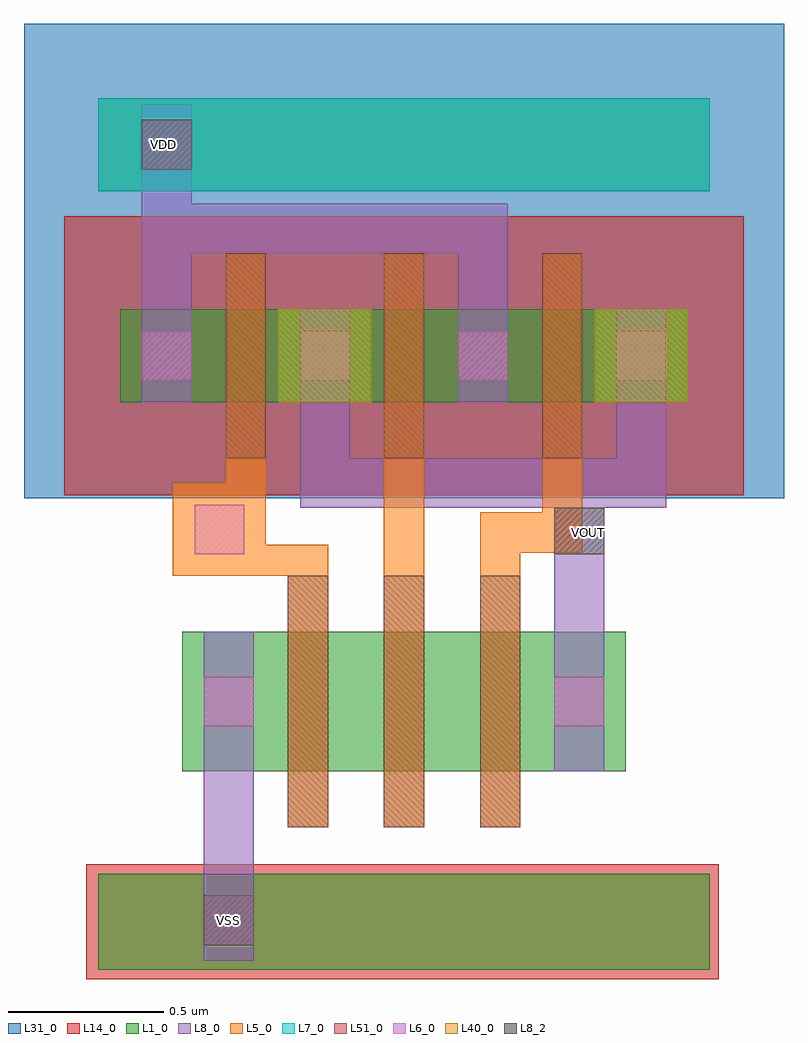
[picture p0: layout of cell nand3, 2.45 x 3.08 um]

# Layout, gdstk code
import gdstk
lib = gdstk.Library(unit=1e-6, precision=5e-09)
def R(c, l, rs):  # rectangles x0, y0, x1, y1
    for r in rs: c.add(gdstk.rectangle(r[:2], r[2:], *l))
def A(c, l, x, y, w, h, nx, ny, dx, dy):  # array of equal rectangles
    R(c, l, [(x+i*dx, y+j*dy, x+i*dx+w, y+j*dy+h) for i in range(nx) for j in range(ny)])
def P(c, l, *ps):  # polygons
    for p in ps: c.add(gdstk.Polygon(p, *l))
L1_0 = (1, 0)
L5_0 = (5, 0)
L6_0 = (6, 0)
L7_0 = (7, 0)
L8_0 = (8, 0)
L8_2 = (8, 2)
L14_0 = (14, 0)
L31_0 = (31, 0)
L40_0 = (40, 0)
L51_0 = (51, 0)

nmos_serie = lib.new_cell('nmos_serie')
R(nmos_serie, L1_0, [(0,0.18,1.43,0.63)])
A(nmos_serie, L5_0, 0.34, 0, 0.13, 0.81, 3, 1, 0.31, 0)
R(nmos_serie, L6_0, [(0.07,0.325,0.23,0.485), (1.2,0.325,1.36,0.485)])
R(nmos_serie, L8_0, [(0.07,0.18,0.23,0.63), (1.2,0.18,1.36,0.63)])
A(nmos_serie, L51_0, 0.34, 0, 0.13, 0.81, 3, 1, 0.31, 0)
nmos_serie.add(gdstk.Label('nmos', (0.71,0.41), layer=63, texttype=0))
nmos_serie.add(gdstk.Label('nmos', (1.02,0.4), layer=63, texttype=0))
nmos_serie.add(gdstk.Label('nmos', (0.405,0.405), layer=63, texttype=0))
nmos_serie.add(gdstk.Label('nmos', (0.71,0.41), layer=51, texttype=0))
nmos_serie.add(gdstk.Label('nmos', (1.02,0.4), layer=51, texttype=0))
nmos_serie.add(gdstk.Label('nmos', (0.405,0.405), layer=51, texttype=0))

pmos_parallel = lib.new_cell('pmos_parallel')
R(pmos_parallel, L1_0, [(0.31,0.31,2.14,0.61), (0.31,0.31,0.61,0.61), (1.84,0.31,2.14,0.61)])
R(pmos_parallel, L5_0, [(0.65,0.13,0.78,0.79), (0.65,0.13,0.78,0.79), (1.16,0.13,1.29,0.79), (1.16,0.13,1.29,0.79), (1.67,0.13,1.8,0.79), (1.67,0.13,1.8,0.79)])
A(pmos_parallel, L6_0, 0.38, 0.38, 0.16, 0.16, 4, 1, 0.51, 0)
R(pmos_parallel, L8_0, [(0.38,0.31,0.54,0.61), (0.38,0.31,0.54,0.61), (0.89,0.31,1.05,0.61), (0.89,0.31,1.05,0.61), (1.4,0.31,1.56,0.61), (1.4,0.31,1.56,0.61), (1.91,0.31,2.07,0.61), (1.91,0.31,2.07,0.61)])
R(pmos_parallel, L14_0, [(0.13,0.01,2.32,0.91)])
R(pmos_parallel, L31_0, [(0,0,2.45,0.92)])
R(pmos_parallel, L40_0, [(0.82,0.31,1.12,0.61), (1.84,0.31,2.14,0.61)])
A(pmos_parallel, L51_0, 0.65, 0.13, 0.13, 0.66, 3, 1, 0.51, 0)
pmos_parallel.add(gdstk.Label('pmos', (1.22,0.46), layer=63, texttype=0))
pmos_parallel.add(gdstk.Label('pmos', (1.74,0.46), layer=63, texttype=0))
pmos_parallel.add(gdstk.Label('pmos', (0.715,0.46), layer=63, texttype=0))
pmos_parallel.add(gdstk.Label('pmos', (1.22,0.46), layer=51, texttype=0))
pmos_parallel.add(gdstk.Label('pmos', (1.74,0.46), layer=51, texttype=0))
pmos_parallel.add(gdstk.Label('pmos', (0.715,0.46), layer=51, texttype=0))

nand3 = lib.new_cell('nand3')
R(nand3, L1_0, [(0.24,-1.52,2.21,-1.21), (0.24,0.99,2.21,1.29)])
R(nand3, L5_0, [(1.16,-0.25,1.29,0.13)])
P(nand3, L5_0, [(1.47,-0.25),(1.47,-0.045),(1.67,-0.045),(1.67,0.13),(1.8,0.13),(1.8,-0.175),(1.6,-0.175),(1.6,-0.25)],
  [(0.48,-0.25),(0.48,0.05),(0.65,0.05),(0.65,0.13),(0.78,0.13),(0.78,-0.15),(0.98,-0.15),(0.98,-0.25),(0.85,-0.25)])
R(nand3, L6_0, [(0.58,-1.44,0.74,-1.28), (0.55,-0.18,0.71,-0.02), (0.38,1.06,0.54,1.22)])
R(nand3, L7_0, [(0.24,0.99,2.21,1.29)])
R(nand3, L8_0, [(0.58,-1.49,0.74,-0.88)])
P(nand3, L8_0, [(1.71,-0.655),(1.71,-0.03),(0.89,-0.03),(0.89,0.46),(1.05,0.46),(1.05,0.13),(1.91,0.13),(1.91,0.46),(2.07,0.46),(2.07,-0.03),(1.87,-0.03),(1.87,-0.655)],
  [(0.38,0.46),(0.38,1.27),(0.54,1.27),(0.54,0.95),(1.56,0.95),(1.56,0.46),(1.4,0.46),(1.4,0.79),(0.54,0.79),(0.54,0.46)])
R(nand3, L8_2, [(0.58,-1.44,0.74,-1.28), (1.71,-0.18,1.87,-0.03), (0.38,1.06,0.54,1.22)])
R(nand3, L14_0, [(0.2,-1.55,2.24,-1.18)])
R(nand3, L31_0, [(0,0.92,2.45,1.53)])
nand3.add(gdstk.Reference(nmos_serie, (0.51,-1.06)))
nand3.add(gdstk.Reference(pmos_parallel, (0,0)))
nand3.add(gdstk.Label('VDD', (0.45,1.14), layer=8, texttype=25))
nand3.add(gdstk.Label('VOUT', (1.82,-0.11), layer=8, texttype=25))
nand3.add(gdstk.Label('VSS', (0.66,-1.36), layer=8, texttype=25))

lib.write_gds('nand3.gds')
